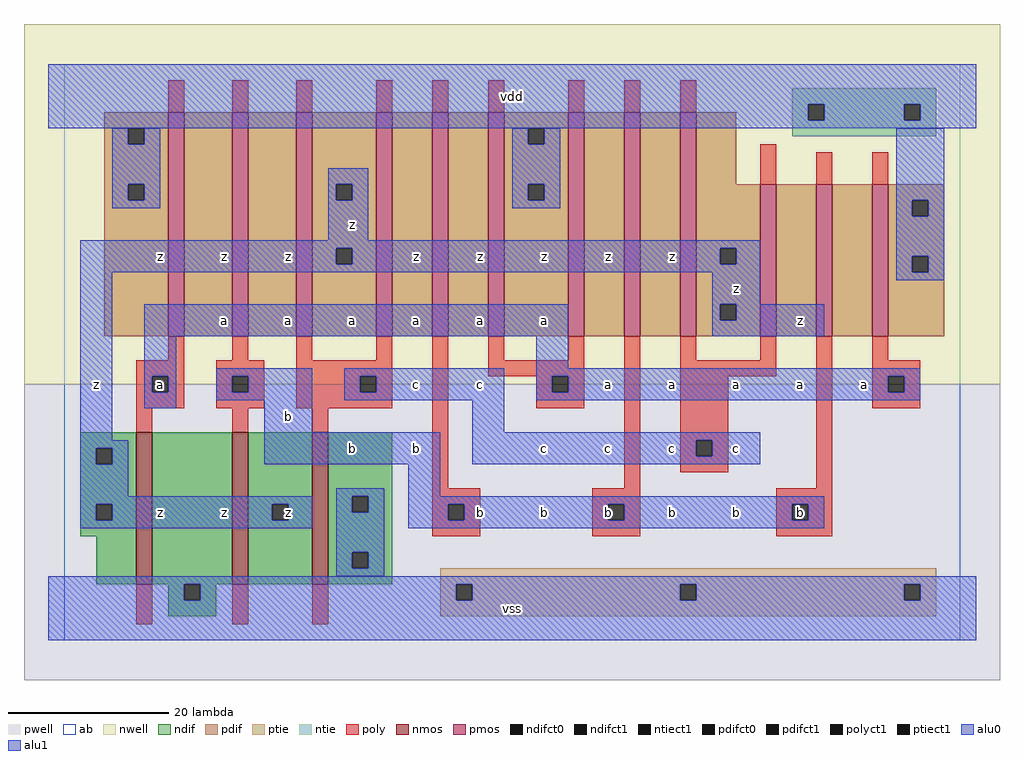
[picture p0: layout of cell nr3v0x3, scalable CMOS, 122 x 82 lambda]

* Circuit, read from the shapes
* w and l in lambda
.subckt nr3v0x3 a b c vdd vss z
M1 vss a z vss nfet w=19 l=2
M2 z b vss vss nfet w=19 l=2
M3 vss c z vss nfet w=19 l=2
M4 n1 a vdd vdd pfet w=28 l=2
M5 n2 b n1 vdd pfet w=28 l=2
M6 z c n2 vdd pfet w=28 l=2
M7 n3 c z vdd pfet w=28 l=2
M8 n4 b n3 vdd pfet w=28 l=2
M9 vdd a n4 vdd pfet w=28 l=2
M10 n5 a vdd vdd pfet w=28 l=2
M11 n6 b n5 vdd pfet w=28 l=2
M12 z c n6 vdd pfet w=28 l=2
M13 n7 c z vdd pfet w=19 l=2
M14 n8 b n7 vdd pfet w=19 l=2
M15 vdd a n8 vdd pfet w=19 l=2
.ends

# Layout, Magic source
magic
tech scmos
<< ab >>
rect 0 0 112 72
<< nwell >>
rect -5 32 117 77
<< pwell >>
rect -5 -5 117 32
<< poly >>
rect 13 66 15 70
rect 21 66 23 70
rect 29 66 31 70
rect 39 66 41 70
rect 46 66 48 70
rect 53 66 55 70
rect 63 66 65 70
rect 70 66 72 70
rect 77 66 79 70
rect 87 57 89 62
rect 94 57 96 61
rect 101 57 103 61
rect 13 35 15 38
rect 21 35 23 38
rect 29 35 31 38
rect 39 35 41 38
rect 9 33 15 35
rect 9 31 11 33
rect 13 31 15 33
rect 9 29 15 31
rect 19 33 25 35
rect 19 31 21 33
rect 23 31 25 33
rect 19 29 25 31
rect 29 33 41 35
rect 29 31 37 33
rect 39 31 41 33
rect 29 29 41 31
rect 9 26 11 29
rect 21 26 23 29
rect 31 26 33 29
rect 46 19 48 38
rect 53 35 55 38
rect 63 35 65 38
rect 53 33 65 35
rect 59 31 61 33
rect 63 31 65 33
rect 59 29 65 31
rect 70 19 72 38
rect 77 35 79 38
rect 87 35 89 38
rect 77 33 89 35
rect 77 25 83 33
rect 77 23 79 25
rect 81 23 83 25
rect 77 21 83 23
rect 94 19 96 38
rect 101 35 103 38
rect 101 33 107 35
rect 101 31 103 33
rect 105 31 107 33
rect 101 29 107 31
rect 46 17 52 19
rect 46 15 48 17
rect 50 15 52 17
rect 46 13 52 15
rect 66 17 72 19
rect 66 15 68 17
rect 70 15 72 17
rect 66 13 72 15
rect 89 17 96 19
rect 89 15 91 17
rect 93 15 96 17
rect 89 13 96 15
rect 9 2 11 7
rect 21 2 23 7
rect 31 2 33 7
<< ndif >>
rect 2 24 9 26
rect 2 22 4 24
rect 6 22 9 24
rect 2 17 9 22
rect 2 15 4 17
rect 6 15 9 17
rect 2 13 9 15
rect 4 7 9 13
rect 11 7 21 26
rect 23 17 31 26
rect 23 15 26 17
rect 28 15 31 17
rect 23 7 31 15
rect 33 18 41 26
rect 33 16 36 18
rect 38 16 41 18
rect 33 11 41 16
rect 33 9 36 11
rect 38 9 41 11
rect 33 7 41 9
rect 13 5 15 7
rect 17 5 19 7
rect 13 3 19 5
<< pdif >>
rect 5 64 13 66
rect 5 62 8 64
rect 10 62 13 64
rect 5 57 13 62
rect 5 55 8 57
rect 10 55 13 57
rect 5 38 13 55
rect 15 38 21 66
rect 23 38 29 66
rect 31 57 39 66
rect 31 55 34 57
rect 36 55 39 57
rect 31 49 39 55
rect 31 47 34 49
rect 36 47 39 49
rect 31 38 39 47
rect 41 38 46 66
rect 48 38 53 66
rect 55 64 63 66
rect 55 62 58 64
rect 60 62 63 64
rect 55 57 63 62
rect 55 55 58 57
rect 60 55 63 57
rect 55 38 63 55
rect 65 38 70 66
rect 72 38 77 66
rect 79 57 84 66
rect 79 49 87 57
rect 79 47 82 49
rect 84 47 87 49
rect 79 42 87 47
rect 79 40 82 42
rect 84 40 87 42
rect 79 38 87 40
rect 89 38 94 57
rect 96 38 101 57
rect 103 55 110 57
rect 103 53 106 55
rect 108 53 110 55
rect 103 48 110 53
rect 103 46 106 48
rect 108 46 110 48
rect 103 38 110 46
<< alu1 >>
rect -2 67 114 72
rect -2 65 93 67
rect 95 65 105 67
rect 107 65 114 67
rect -2 64 114 65
rect 33 57 38 59
rect 33 55 34 57
rect 36 55 38 57
rect 33 50 38 55
rect 2 49 87 50
rect 2 47 34 49
rect 36 47 82 49
rect 84 47 87 49
rect 2 46 87 47
rect 2 25 6 46
rect 81 42 87 46
rect 10 38 63 42
rect 81 40 82 42
rect 84 40 95 42
rect 81 38 95 40
rect 10 33 14 38
rect 59 34 63 38
rect 10 31 11 33
rect 13 31 14 33
rect 10 29 14 31
rect 19 33 31 34
rect 19 31 21 33
rect 23 31 31 33
rect 19 30 31 31
rect 35 33 55 34
rect 35 31 37 33
rect 39 31 55 33
rect 35 30 55 31
rect 59 33 107 34
rect 59 31 61 33
rect 63 31 103 33
rect 105 31 107 33
rect 59 30 107 31
rect 25 26 31 30
rect 51 26 55 30
rect 2 24 8 25
rect 2 22 4 24
rect 6 22 8 24
rect 25 22 47 26
rect 51 25 87 26
rect 51 23 79 25
rect 81 23 87 25
rect 51 22 87 23
rect 2 18 8 22
rect 2 17 31 18
rect 2 15 4 17
rect 6 15 26 17
rect 28 15 31 17
rect 2 14 31 15
rect 43 18 47 22
rect 43 17 95 18
rect 43 15 48 17
rect 50 15 68 17
rect 70 15 91 17
rect 93 15 95 17
rect 43 14 95 15
rect -2 7 114 8
rect -2 5 15 7
rect 17 5 49 7
rect 51 5 77 7
rect 79 5 105 7
rect 107 5 114 7
rect -2 0 114 5
<< ptie >>
rect 47 7 109 9
rect 47 5 49 7
rect 51 5 77 7
rect 79 5 105 7
rect 107 5 109 7
rect 47 3 109 5
<< ntie >>
rect 91 67 109 69
rect 91 65 93 67
rect 95 65 105 67
rect 107 65 109 67
rect 91 63 109 65
<< nmos >>
rect 9 7 11 26
rect 21 7 23 26
rect 31 7 33 26
<< pmos >>
rect 13 38 15 66
rect 21 38 23 66
rect 29 38 31 66
rect 39 38 41 66
rect 46 38 48 66
rect 53 38 55 66
rect 63 38 65 66
rect 70 38 72 66
rect 77 38 79 66
rect 87 38 89 57
rect 94 38 96 57
rect 101 38 103 57
<< polyct1 >>
rect 11 31 13 33
rect 21 31 23 33
rect 37 31 39 33
rect 61 31 63 33
rect 79 23 81 25
rect 103 31 105 33
rect 48 15 50 17
rect 68 15 70 17
rect 91 15 93 17
<< ndifct0 >>
rect 36 16 38 18
rect 36 9 38 11
<< ndifct1 >>
rect 4 22 6 24
rect 4 15 6 17
rect 26 15 28 17
rect 15 5 17 7
<< ntiect1 >>
rect 93 65 95 67
rect 105 65 107 67
<< ptiect1 >>
rect 49 5 51 7
rect 77 5 79 7
rect 105 5 107 7
<< pdifct0 >>
rect 8 62 10 64
rect 8 55 10 57
rect 58 62 60 64
rect 58 55 60 57
rect 106 53 108 55
rect 106 46 108 48
<< pdifct1 >>
rect 34 55 36 57
rect 34 47 36 49
rect 82 47 84 49
rect 82 40 84 42
<< alu0 >>
rect 6 62 8 64
rect 10 62 12 64
rect 6 57 12 62
rect 56 62 58 64
rect 60 62 62 64
rect 6 55 8 57
rect 10 55 12 57
rect 6 54 12 55
rect 56 57 62 62
rect 56 55 58 57
rect 60 55 62 57
rect 56 54 62 55
rect 104 55 110 64
rect 104 53 106 55
rect 108 53 110 55
rect 104 48 110 53
rect 104 46 106 48
rect 108 46 110 48
rect 104 45 110 46
rect 34 18 40 19
rect 34 16 36 18
rect 38 16 40 18
rect 34 11 40 16
rect 34 9 36 11
rect 38 9 40 11
rect 34 8 40 9
<< labels >>
rlabel alu1 12 16 12 16 6 z
rlabel alu1 4 32 4 32 6 z
rlabel polyct1 12 32 12 32 6 a
rlabel alu1 12 48 12 48 6 z
rlabel alu1 28 16 28 16 6 z
rlabel alu1 20 16 20 16 6 z
rlabel alu1 36 24 36 24 6 b
rlabel alu1 28 28 28 28 6 b
rlabel alu1 20 40 20 40 6 a
rlabel alu1 36 40 36 40 6 a
rlabel alu1 28 40 28 40 6 a
rlabel alu1 20 48 20 48 6 z
rlabel alu1 36 52 36 52 6 z
rlabel alu1 28 48 28 48 6 z
rlabel alu1 56 4 56 4 6 vss
rlabel alu1 60 16 60 16 6 b
rlabel alu1 52 16 52 16 6 b
rlabel alu1 44 24 44 24 6 b
rlabel alu1 60 24 60 24 6 c
rlabel alu1 52 32 52 32 6 c
rlabel alu1 44 32 44 32 6 c
rlabel alu1 44 40 44 40 6 a
rlabel alu1 60 40 60 40 6 a
rlabel alu1 52 40 52 40 6 a
rlabel alu1 44 48 44 48 6 z
rlabel alu1 60 48 60 48 6 z
rlabel alu1 52 48 52 48 6 z
rlabel alu1 56 68 56 68 6 vdd
rlabel alu1 84 16 84 16 6 b
rlabel alu1 76 16 76 16 6 b
rlabel alu1 68 16 68 16 6 b
rlabel alu1 68 24 68 24 6 c
rlabel alu1 84 24 84 24 6 c
rlabel alu1 76 24 76 24 6 c
rlabel alu1 84 32 84 32 6 a
rlabel alu1 76 32 76 32 6 a
rlabel alu1 68 32 68 32 6 a
rlabel alu1 84 44 84 44 6 z
rlabel alu1 68 48 68 48 6 z
rlabel alu1 76 48 76 48 6 z
rlabel polyct1 92 16 92 16 6 b
rlabel alu1 100 32 100 32 6 a
rlabel alu1 92 32 92 32 6 a
rlabel alu1 92 40 92 40 6 z
<< end >>
